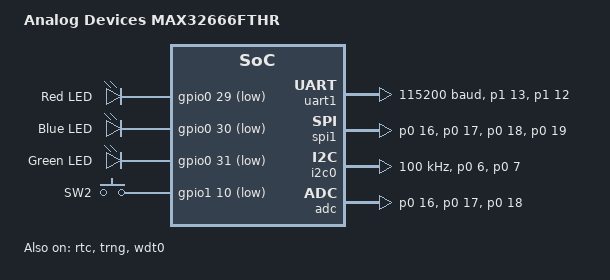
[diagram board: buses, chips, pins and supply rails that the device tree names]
/*
 * Copyright (c) 2023 Analog Devices, Inc.
 *
 * SPDX-License-Identifier: Apache-2.0
 */

/dts-v1/;

 #include <adi/max32/max32666.dtsi>
 #include <adi/max32/max32666-pinctrl.dtsi>
 #include <zephyr/dt-bindings/gpio/adi-max32-gpio.h>

/ {
	 model = "Analog Devices MAX32666FTHR";
	 compatible = "adi,max32666fthr";

	 chosen {
		 zephyr,console = &uart1;
		 zephyr,shell-uart = &uart1;
		 zephyr,sram = &sram0;
		 zephyr,flash = &flash0;
	 };

	 leds {
		 compatible = "gpio-leds";
		 led1: led_1 {
			 gpios = <&gpio0 29 GPIO_ACTIVE_LOW>;
			 label = "Red LED";
		 };
		 led2: led_2 {
			 gpios = <&gpio0 30 GPIO_ACTIVE_LOW>;
			 label = "Blue LED";
		 };
		 led3: led_3 {
			 gpios = <&gpio0 31 GPIO_ACTIVE_LOW>;
			 label = "Green LED";
		 };
	 };

	 buttons {
		 compatible = "gpio-keys";
		 pb1: pb1 {
			 gpios = <&gpio1 10 (GPIO_PULL_UP | GPIO_ACTIVE_LOW)>;
			 label = "SW2";
		 };
	 };

	 /* These aliases are provided for compatibility with samples */
	 aliases {
		led0 = &led1;
		led1 = &led2;
		led2 = &led3;
		sw0 = &pb1;
		rtc = &rtc;
		watchdog0 = &wdt0;
	 };
};

&uart1 {
	pinctrl-0 = <&uart1_tx_p1_13 &uart1_rx_p1_12>;
	pinctrl-names = "default";
	current-speed = <115200>;
	data-bits = <8>;
	parity = "none";
	status = "okay";
};

&spi1 {
	pinctrl-0 = <&spi1_ss0_p0_16 &spi1_mosi_p0_17
		     &spi1_miso_p0_18 &spi1_sck_p0_19>;
	pinctrl-names = "default";
	status = "okay";
};

&i2c0 {
	pinctrl-0 = <&i2c0_scl_p0_6 &i2c0_sda_p0_7>;
	pinctrl-names = "default";
	clock-frequency = <I2C_BITRATE_STANDARD>;
	status = "okay";
};

&rtc {
	status = "okay";
	alarms-count = <1>;
};

&trng {
	status = "okay";
};

&adc {
	status = "okay";
	pinctrl-0 = <&ain0n_p0_16 &ain0p_p0_17 &ain1n_p0_18>;
	pinctrl-names = "default";
	#address-cells = <1>;
	#size-cells = <0>;
};

&wdt0 {
	status = "okay";
};

&dma0 {
	status = "okay";
};

&dma1 {
	status = "okay";
};

&clk_ipo {
	status = "okay";
};

/*
 * ERTCO requires for RTC
 */
&clk_ertco {
	status = "okay";
};
